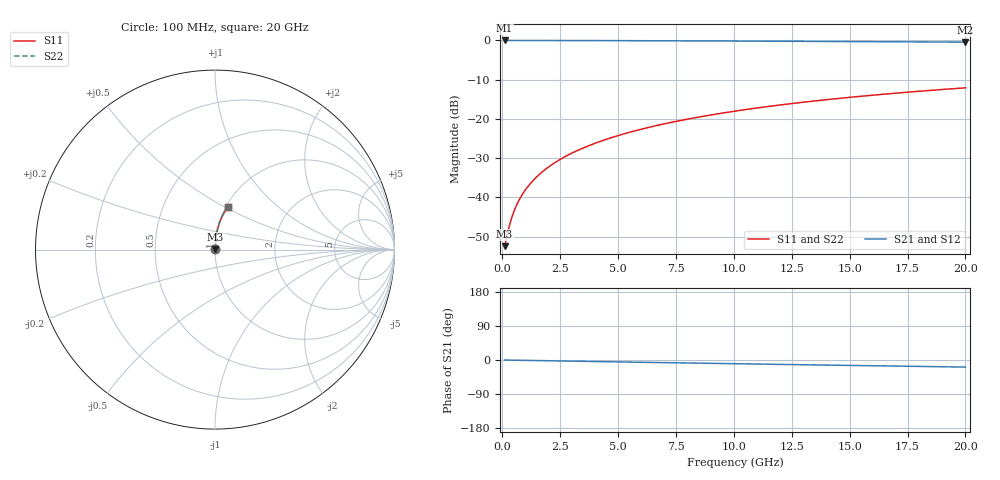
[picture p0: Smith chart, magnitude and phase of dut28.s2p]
! Touchstone file exported from HFSS 2024.1.0
!  File:  C:/UserFiles/LocalFiles/RDL_TSV_Batchsim/temp_RDL_top_28_1778680495.aedt
!  Generated:  09:57:19 PM May 13, 2026
!  Design:  RDL_top
!  Project:  temp_RDL_top_28_1778680495
!  Setup:  Setup1
!  Solution:  Sweep
! Variables:
!  dtsv = 10.80580581um
!  hbump = 3um
!  htsv = 73.76um
!  ldown = 100um
!  lrdl = 174.17um
!  p = 40
!  p1 = 59.34um
!  rhole = 1um
!  t = 450um
!  tdown = 3.915915916um
!  trdl = 2.23um
!  wdown = 15.38538539um
!  wrdl = 16.13um
# GHz S MA R 50.000000
! Terminal data exported
! Port[1] = Box2_T1
! Port[2] = Box2_T2
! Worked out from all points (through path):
!   200 points, 100 MHz to 20 GHz, reference 50 ohm
!   highest |S21| = -0.02 dB at 100 MHz (marker M1); lowest = -0.5 dB at 20 GHz (marker M2)
!   group delay of S21, straight-line fit = 2.59 ps
!   lowest |S11| = -52.4 dB at 100 MHz (marker M3), VSWR 1.00, Z = 50.2 + j0.126 ohm
!   |S11| at or under -10 dB: start of sweep to end of sweep
!   |S22| runs from -52.4 to -12.1 dB; largest |S21 - S12| = 2.7e-15
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0.1  0.002393 31.8  0.998 -0.1  0.998 -0.1  0.002393 31.8
! Gamma 0 0 0 0
! Port Impedance 50 0 50 0
0.2  0.003248 50.7  0.9979 -0.2  0.9979 -0.2  0.003248 50.7
0.3  0.004302 60.9  0.9979 -0.3  0.9979 -0.3  0.004302 60.9
0.4  0.005432 66.9  0.9978 -0.4  0.9978 -0.4  0.005432 66.9
0.5  0.006592 70.7  0.9978 -0.5  0.9978 -0.5  0.006592 70.7
0.6  0.007764 73.3  0.9977 -0.6  0.9977 -0.6  0.007764 73.3
0.8  0.01012 76.8  0.9976 -0.8  0.9976 -0.8  0.01012 76.8
1.1  0.01368 79.7  0.9974 -1.1  0.9974 -1.1  0.01368 79.7
1.5  0.01844 81.9  0.9971 -1.5  0.9971 -1.5  0.01844 81.9
1.8  0.02203 83.0  0.9968 -1.9  0.9968 -1.9  0.02203 83.0
2.1  0.02564 83.7  0.9966 -2.2  0.9966 -2.2  0.02564 83.7
2.7  0.0329 84.6  0.9959 -2.8  0.9959 -2.8  0.0329 84.6
3.5  0.04268 85.1  0.9948 -3.6  0.9948 -3.6  0.04268 85.1
4.2  0.05133 85.2  0.9937 -4.3  0.9937 -4.3  0.05133 85.2
5  0.0613 85.2  0.9923 -5.0  0.9923 -5.0  0.0613 85.2
5.9  0.07262 84.9  0.9906 -5.9  0.9906 -5.9  0.07262 84.9
6.8  0.08403 84.5  0.9886 -6.8  0.9886 -6.8  0.08403 84.5
8.3  0.1032 83.5  0.9851 -8.2  0.9851 -8.2  0.1032 83.5
10.1  0.1262 82.2  0.9805 -9.9  0.9805 -9.9  0.1262 82.2
13.4  0.1682 79.3  0.9712 -12.9  0.9712 -12.9  0.1682 79.3
16.7  0.2091 76.3  0.9608 -15.8  0.9608 -15.8  0.2091 76.3
20  0.2487 73.3  0.9495 -18.7  0.9495 -18.7  0.2487 73.4
